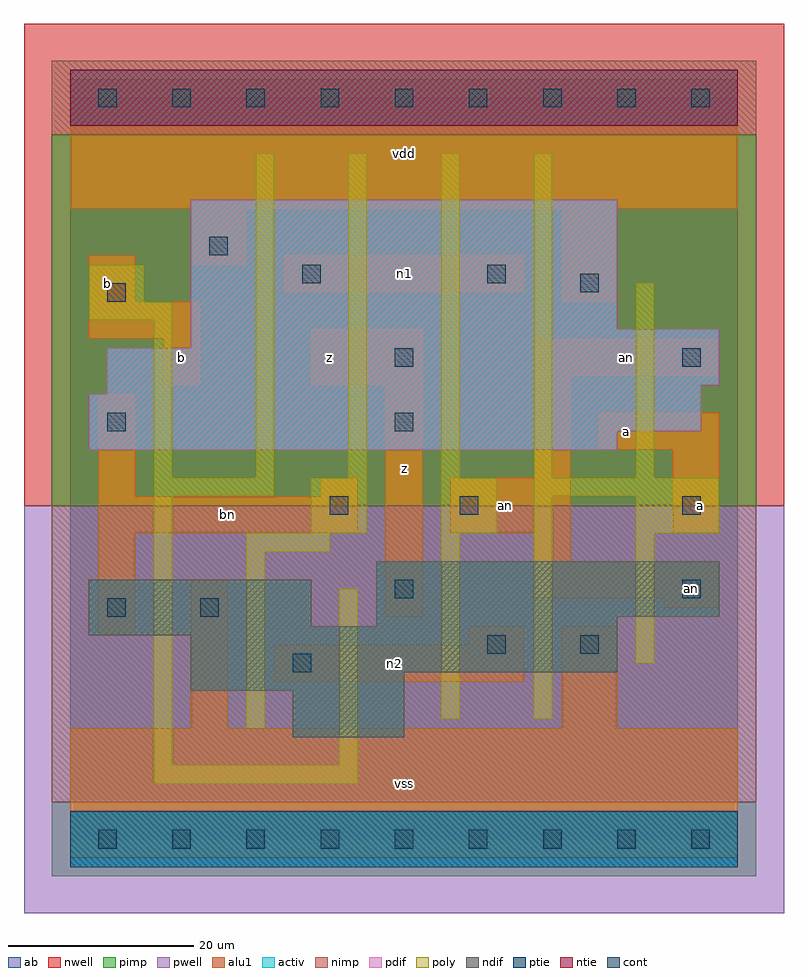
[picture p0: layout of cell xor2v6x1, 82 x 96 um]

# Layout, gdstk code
import gdstk
lib = gdstk.Library(unit=1e-6, precision=1e-09)
def R(c, l, rs):  # rectangles x0, y0, x1, y1
    for r in rs: c.add(gdstk.rectangle(r[:2], r[2:], *l))
def A(c, l, x, y, w, h, nx, ny, dx, dy):  # array of equal rectangles
    R(c, l, [(x+i*dx, y+j*dy, x+i*dx+w, y+j*dy+h) for i in range(nx) for j in range(ny)])
ndif = (3, 0)
pdif = (4, 0)
ntie = (5, 0)
ptie = (6, 0)
cont = (25, 0)
pwell = (41, 0)
nwell = (42, 0)
activ = (43, 0)
pimp = (44, 0)
nimp = (45, 0)
poly = (46, 0)
alu1 = (49, 0)
ab = (63, 0)

xor2v6x1 = lib.new_cell('xor2v6x1')
R(xor2v6x1, ndif, [(24,11,36,16), (13,16,36,18), (13,18,59,22), (2,22,59,23), (2,23,26,28), (33,23,59,24), (33,24,70,30)])
R(xor2v6x1, pdif, [(2,42,59,44), (2,44,68,48), (4,48,68,49), (4,49,70,53), (13,53,70,55), (13,55,59,69)])
R(xor2v6x1, ntie, [(0,77,72,83)])
R(xor2v6x1, ptie, [(0,-3,72,3)])
A(xor2v6x1, cont, 3, -1, 2, 2, 9, 2, 8, 80)
R(xor2v6x1, cont, [(24,18,26,20), (45,20,47,22), (55,20,57,22), (4,24,6,26), (14,24,16,26), (35,26,37,28), (66,26,68,28), (28,35,30,37), (42,35,44,37), (66,35,68,37), (4,44,6,46), (35,44,37,46), (35,51,37,53), (66,51,68,53), (4,58,6,60), (55,59,57,61), (25,60,27,62), (45,60,47,62), (15,63,17,65)])
R(xor2v6x1, pwell, [(-5,-8,77,36)])
R(xor2v6x1, nwell, [(-5,36,77,88)])
R(xor2v6x1, activ, [(0,-3,72,3), (24,11,36,16), (13,16,36,18), (13,18,59,22), (2,22,59,23), (2,23,26,28), (33,23,59,24), (33,24,70,30), (2,42,59,44), (2,44,68,48), (4,48,68,49), (4,49,70,53), (13,53,70,55), (13,55,59,69), (0,77,72,83)])
R(xor2v6x1, pimp, [(-2,-4,74,4), (-2,36,74,76)])
R(xor2v6x1, nimp, [(-2,4,74,36), (-2,76,74,84)])
A(xor2v6x1, poly, 20, 39, 2, 35, 4, 1, 10, 0)
R(xor2v6x1, poly, [(9,6,31,8), (9,8,11,37), (29,8,31,27), (19,12,21,31), (40,13,42,33), (50,13,52,37), (61,19,63,33), (19,31,28,33), (26,33,32,39), (40,33,46,39), (61,33,70,37), (9,37,22,39), (50,37,70,39), (9,39,11,56), (61,39,63,60), (2,56,11,58), (2,58,8,62)])
R(xor2v6x1, alu1, [(0,-2,72,12), (13,12,17,28), (53,12,59,23), (22,17,49,21), (43,21,49,23), (3,22,7,33), (34,24,38,49), (64,25,70,26), (50,26,70,30), (50,30,54,33), (3,33,31,37), (41,33,54,39), (65,33,70,42), (3,37,7,48), (27,37,31,39), (50,39,54,50), (57,42,70,46), (10,49,14,54), (26,49,38,55), (50,50,70,54), (2,54,14,58), (2,58,7,63), (53,58,59,68), (23,59,49,63), (13,62,19,68), (0,68,72,82)])
R(xor2v6x1, ab, [(0,0,72,80)])
xor2v6x1.add(gdstk.Label('bn', (17,35), layer=49, texttype=0))
xor2v6x1.add(gdstk.Label('n2', (35,19), layer=49, texttype=0))
xor2v6x1.add(gdstk.Label('n1', (36,61), layer=49, texttype=0))
xor2v6x1.add(gdstk.Label('an', (47,36), layer=49, texttype=0))
xor2v6x1.add(gdstk.Label('an', (67,27), layer=49, texttype=0))
xor2v6x1.add(gdstk.Label('an', (60,52), layer=49, texttype=0))
xor2v6x1.add(gdstk.Label('b', (12,52), layer=49, texttype=0))
xor2v6x1.add(gdstk.Label('b', (4,60), layer=49, texttype=0))
xor2v6x1.add(gdstk.Label('z', (28,52), layer=49, texttype=0))
xor2v6x1.add(gdstk.Label('vss', (36,6), layer=49, texttype=0))
xor2v6x1.add(gdstk.Label('z', (36,40), layer=49, texttype=0))
xor2v6x1.add(gdstk.Label('vdd', (36,74), layer=49, texttype=0))
xor2v6x1.add(gdstk.Label('a', (68,36), layer=49, texttype=0))
xor2v6x1.add(gdstk.Label('a', (60,44), layer=49, texttype=0))

lib.write_gds('xor2v6x1.gds')
